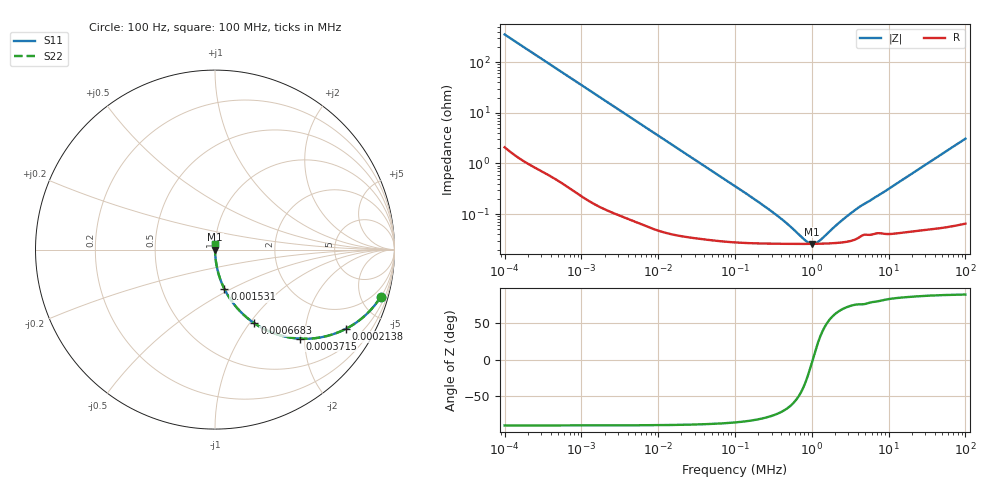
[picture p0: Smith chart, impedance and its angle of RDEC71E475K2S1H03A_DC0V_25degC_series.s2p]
!Murata Part Number: RDEC71E475K2S1H03A
!These Parameters are Measured in Series Mode Connection
!  o--ll--o
!Port1  Port2
!  o------o
!Operation Temp=25[degC], DC Bias Voltage=0[V]
!Freq. Start=100[Hz] Stop=100[MHz], 401[Steps]
!Data Generated on Dec 23, 2019
# Hz S RI R 50
!Freq.(Hz) S11(Real) S11(Imag) S21(Real) S21(Imag) S12(Real) S12(Imag) S22(Real) S22(Imag)
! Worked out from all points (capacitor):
!   401 points, 100 Hz to 100 MHz, reference 50 ohm
!   read as one part in series: C = 4.53 uF near 107.2 Hz
!   lowest |Z| = 25.9 mohm at 1.012 MHz (marker M1)
!   series resonance near 1.028 MHz, so ESL is about 5.3 nH
!   S11 on the Smith chart (normalised r, x): 100 Hz: 1.04, -7.01; 213.8 Hz: 1.02, -3.29; 371.5 Hz: 1.01, -1.90; 668.3 Hz: 1.01, -1.06; 1.531 kHz: 1.00, -0.46; 100 MHz: 1.00, +0.06
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100  0.9235 -0.2629  0.0765 0.2629  0.0765 0.2629  0.9235 -0.2629
146.2177  0.8508 -0.3535  0.1492 0.3535  0.1492 0.3535  0.8508 -0.3535
213.7962  0.7287 -0.4418  0.2713 0.4418  0.2713 0.4418  0.7287 -0.4418
281.8383  0.6084 -0.4851  0.3916 0.4851  0.3916 0.4851  0.6084 -0.4851
371.5352  0.4733 -0.4962  0.5267 0.4962  0.5267 0.4962  0.4733 -0.4962
489.7788  0.3422 -0.4713  0.6578 0.4713  0.6578 0.4713  0.3422 -0.4713
668.3439  0.2196 -0.4108  0.7804 0.4108  0.7804 0.4108  0.2196 -0.4108
1011.579  0.1104 -0.3102  0.8896 0.3102  0.8896 0.3102  0.1104 -0.3102
1531.087  0.052 -0.2188  0.948 0.2188  0.948 0.2188  0.052 -0.2188
3507.519  0.011 -0.1  0.989 0.1  0.989 0.1  0.011 -0.1
10232.93  0.00168 -0.0348  0.9983 0.0348  0.9983 0.0348  0.00168 -0.0348
100000  0.000289 -0.00357  0.9997 0.00357  0.9997 0.00357  0.000289 -0.00357
312607.9  0.000262 -0.00105  0.9997 0.00105  0.9997 0.00105  0.000262 -0.00105
489778.8  0.000259 -0.000571  0.9997 0.000571  0.9997 0.000571  0.000259 -0.000571
822242.6  0.000258 -0.000159  0.9997 0.000159  0.9997 0.000159  0.000258 -0.000159
1011579  0.000259 -1.15e-05  0.9997 1.15e-05  0.9997 1.15e-05  0.000259 -1.15e-05
1122018  0.000259 6.16e-05  0.9997 -6.16e-05  0.9997 -6.16e-05  0.000259 6.16e-05
1244515  0.00026 0.000136  0.9997 -0.000136  0.9997 -0.000136  0.00026 0.000136
2317395  0.000274 0.00064  0.9997 -0.00064  0.9997 -0.00064  0.000274 0.00064
3890451  0.00033 0.00125  0.9997 -0.00125  0.9997 -0.00125  0.00033 0.00125
1.023293e7  0.000415 0.00319  0.9996 -0.00319  0.9996 -0.00319  0.000415 0.00319
1e8  0.00159 0.0307  0.9984 -0.0307  0.9984 -0.0307  0.00159 0.0307
